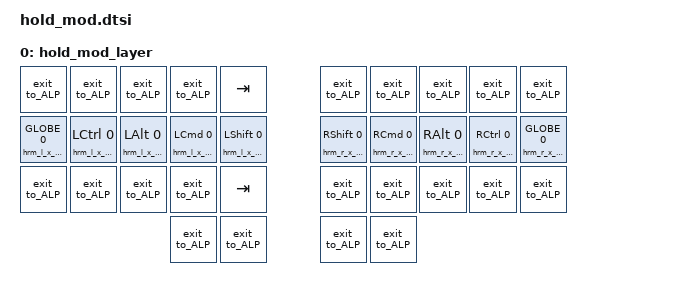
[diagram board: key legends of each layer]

/*           34 Keys
╭──────────────╮ ╭──────────────╮
│ 0  1  2  3  4│ │ 5  6  7  8  9│
│10 11 12 13 14│ │15 16 17 18 19│
│20 21 22 23 24│ │25 26 27 28 29│
╰────────╮30 31│ │32 33╭────────╯
         ╰─────╯ ╰─────╯         */

// Layer which holds a mod pressed

/ {
    keymap {
        compatible = "zmk,keymap";
                hold_mod_layer {
// ---------------------------------------------------------------
// |     |     |     |     |     | |     |     |     |     |     |
// |     |     |     |     |     | |     |     |     |     |     |
// |     |     |     |     |     | |     |     |     |     |     |
//                   |     |     | |     |     |     |     |     |
                        bindings = <
//┌────────────────────┬─────────────────────┬────────────────────┬────────────────────┬─────────────────────┐ ┌────────────────────┬────────────────────┬────────────────────┬─────────────────────┬─────────────────────┐
   &exit_to_ALP          &exit_to_ALP          &exit_to_ALP         &exit_to_ALP         &kp TAB                &exit_to_ALP          &exit_to_ALP         &exit_to_ALP         &exit_to_ALP          &exit_to_ALP 
//├────────────────────┼─────────────────────┼────────────────────┼────────────────────┼─────────────────────┤ ├────────────────────┼────────────────────┼────────────────────┼─────────────────────┼─────────────────────┤
   &hrm_l_x_ALP GLOBE 0  &hrm_l_x_ALP LCTRL 0  &hrm_l_x_ALP LALT 0  &hrm_l_x_ALP LCMD 0  &hrm_l_x_ALP LSHFT 0   &hrm_r_x_ALP RSHFT 0  &hrm_r_x_ALP RCMD 0  &hrm_r_x_ALP RALT 0  &hrm_r_x_ALP RCTRL 0  &hrm_r_x_ALP GLOBE 0
//├────────────────────┼─────────────────────┼────────────────────┼────────────────────┼─────────────────────┤ ├────────────────────┼────────────────────┼────────────────────┼─────────────────────┼─────────────────────┤
   &exit_to_ALP          &exit_to_ALP          &exit_to_ALP         &exit_to_ALP         &kp TAB                &exit_to_ALP          &exit_to_ALP         &exit_to_ALP         &exit_to_ALP          &exit_to_ALP 
//└────────────────────┴─────────────────────┴────────────────────┴────────────────────┴─────────────────────┘ └────────────────────┴────────────────────┴────────────────────┴─────────────────────┴─────────────────────┘
                                                                    &exit_to_ALP         &exit_to_ALP           &exit_to_ALP          &exit_to_ALP
//                                                                └────────────────────┴─────────────────────┘ └────────────────────┴────────────────────┘                        
                        >;
                };
        };
};

// enable HRM in this layer
   HOME_ROW_MOD_BEHAVIOR(l_x_ALP, &exit_to_ALP, LEFT_SIDE_KEYS)
   HOME_ROW_MOD_BEHAVIOR(r_x_ALP, &exit_to_ALP, LEFT_SIDE_KEYS)
